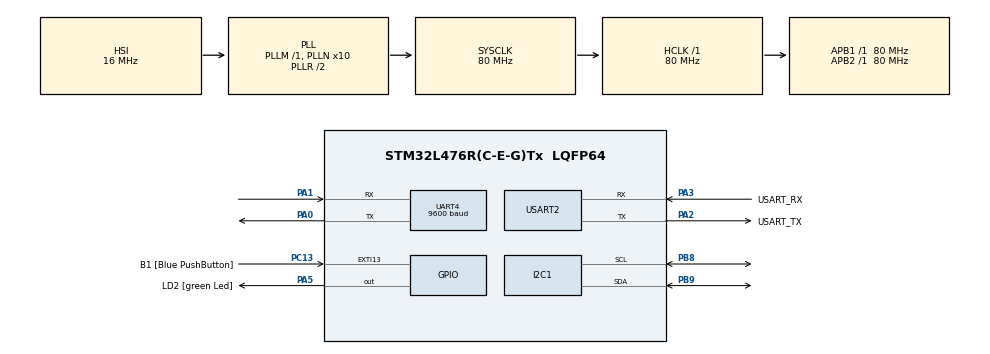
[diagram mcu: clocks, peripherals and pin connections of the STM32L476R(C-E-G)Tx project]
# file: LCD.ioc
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I2C1.Timing=0x10D19CE4
Mcu.Family=STM32L4
Mcu.Name=STM32L476R(C-E-G)Tx
Mcu.Package=LQFP64
NVIC.PriorityGroup=NVIC_PRIORITYGROUP_4
NVIC.UART4_IRQn=true\:0\:0\:false\:false\:true\:true\:true\:true
PA0.Mode=Asynchronous
PA0.Signal=UART4_TX
PA1.Mode=Asynchronous
PA1.Signal=UART4_RX
PA13\ (JTMS-SWDIO).GPIO_Label=TMS
PA13\ (JTMS-SWDIO).Mode=Serial_Wire
PA13\ (JTMS-SWDIO).Signal=SYS_JTMS-SWDIO
PA14\ (JTCK-SWCLK).GPIO_Label=TCK
PA14\ (JTCK-SWCLK).Mode=Serial_Wire
PA14\ (JTCK-SWCLK).Signal=SYS_JTCK-SWCLK
PA2.GPIO_Label=USART_TX
PA2.GPIO_Mode=GPIO_MODE_AF_PP
PA2.GPIO_PuPd=GPIO_NOPULL
PA2.GPIO_Speed=GPIO_SPEED_FREQ_VERY_HIGH
PA2.Mode=Asynchronous
PA2.Signal=USART2_TX
PA3.GPIO_Label=USART_RX
PA3.GPIO_Mode=GPIO_MODE_AF_PP
PA3.GPIO_PuPd=GPIO_NOPULL
PA3.GPIO_Speed=GPIO_SPEED_FREQ_VERY_HIGH
PA3.Mode=Asynchronous
PA3.Signal=USART2_RX
PA5.GPIO_Label=LD2 [green Led]
PA5.GPIO_ModeDefaultOutputPP=GPIO_MODE_OUTPUT_PP
PA5.GPIO_PuPd=GPIO_NOPULL
PA5.GPIO_Speed=GPIO_SPEED_FREQ_LOW
PA5.Signal=GPIO_Output
PB3\ (JTDO-TRACESWO).GPIO_Label=SWO
PB3\ (JTDO-TRACESWO).Signal=SYS_JTDO-SWO
PB8.Mode=I2C
PB8.Signal=I2C1_SCL
PB9.Mode=I2C
PB9.Signal=I2C1_SDA
PC13.GPIO_Label=B1 [Blue PushButton]
PC13.GPIO_ModeDefaultEXTI=GPIO_MODE_IT_FALLING
PC13.GPIO_PuPd=GPIO_NOPULL
PC13.Signal=GPXTI13
PC14-OSC32_IN\ (PC14).Mode=LSE-External-Oscillator
PC14-OSC32_IN\ (PC14).Signal=RCC_OSC32_IN
PC15-OSC32_OUT\ (PC15).Mode=LSE-External-Oscillator
PC15-OSC32_OUT\ (PC15).Signal=RCC_OSC32_OUT
PH0-OSC_IN\ (PH0).Signal=RCC_OSC_IN
PH1-OSC_OUT\ (PH1).Signal=RCC_OSC_OUT
ProjectManager.HeapSize=0x200
ProjectManager.StackSize=0x400
ProjectManager.TargetToolchain=STM32CubeIDE
RCC.ADCFreq_Value=64000000
RCC.AHBFreq_Value=80000000
RCC.APB1Freq_Value=80000000
RCC.APB1TimFreq_Value=80000000
RCC.APB2Freq_Value=80000000
RCC.APB2TimFreq_Value=80000000
RCC.CortexFreq_Value=80000000
RCC.HCLKFreq_Value=80000000
RCC.HSE_VALUE=8000000
RCC.HSI_VALUE=16000000
RCC.MSI_VALUE=4000000
RCC.PLLN=10
RCC.PLLSourceVirtual=RCC_PLLSOURCE_HSI
RCC.PREFETCH_ENABLE=1
RCC.SYSCLKFreq_VALUE=80000000
RCC.SYSCLKSource=RCC_SYSCLKSOURCE_PLLCLK
RCC.USBFreq_Value=64000000
RCC.VCOOutputFreq_Value=160000000
UART4.BaudRate=9600
UART4.WordLength=WORDLENGTH_8B
USART2.VirtualMode-Asynchronous=VM_ASYNC
board=NUCLEO-L476RG

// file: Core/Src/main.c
/* USER CODE BEGIN Header */
/**
  ******************************************************************************
  * @file           : main.c
  * @brief          : Main program body
  ******************************************************************************
  * @attention
  *
  * Copyright (c) 2026 STMicroelectronics.
  * All rights reserved.
  *
  * This software is licensed under terms that can be found in the LICENSE file
  * in the root directory of this software component.
  * If no LICENSE file comes with this software, it is provided AS-IS.
  *
  ******************************************************************************
  */
/* USER CODE END Header */
#include "main.h"
#include "i2c.h"
#include "usart.h"
#include "gpio.h"

/* USER CODE BEGIN Includes */
#include "lcd.h"
#include "lora.h"
#include <stdlib.h>
#include <string.h>
/* USER CODE END Includes */

/* USER CODE BEGIN PV */
rgb_lcd lcd;
uint8_t rx_char;
char rx_buffer[200];
uint16_t rx_index = 0;

/* USER CODE END PV */

void SystemClock_Config(void);

/* USER CODE BEGIN 0 */
void HAL_UART_RxCpltCallback(UART_HandleTypeDef *huart)
{
    if (huart->Instance == UART4)
    {
        lora_uart_callback();
    }
}
/* USER CODE END 0 */

int main(void)
{

  /* MCU Configuration--------------------------------------------------------*/

  /* Reset of all peripherals, Initializes the Flash interface and the Systick. */
  HAL_Init();

  /* Configure the system clock */
  SystemClock_Config();

  /* Initialize all configured peripherals */
  MX_GPIO_Init();
  MX_USART2_UART_Init();
  MX_I2C1_Init();
  MX_UART4_Init();
  /* USER CODE BEGIN 2 */

  /*
  lora_init(LORA_MODE_RECEPTEUR);
	*/

  // Init LCD
  lcd_init(&hi2c1, &lcd);
  reglagecouleur(0, 0, 255); // bleu pour distinguer le récepteur

  lcd_position(&hi2c1, 0, 0);
  lcd_print(&hi2c1, "Init LoRa...");

  // Init LoRa en mode récepteur
  lora_init(LORA_MODE_RECEPTEUR);

  // LCD prêt
  clearlcd();
  lcd_position(&hi2c1, 0, 0);
  lcd_print(&hi2c1, "En attente...");
  /* USER CODE END 2 */

  /* Infinite loop */
  while (1)
  {
	  /*lora_envoie("Hello");
	  HAL_Delay(5000);
	  lora_envoie("Ciao");
	  HAL_Delay(2000);*/
  }
}

void SystemClock_Config(void)
{
  RCC_OscInitTypeDef RCC_OscInitStruct = {0};
  RCC_ClkInitTypeDef RCC_ClkInitStruct = {0};

  /** Configure the main internal regulator output voltage
  */
  if (HAL_PWREx_ControlVoltageScaling(PWR_REGULATOR_VOLTAGE_SCALE1) != HAL_OK)
  {
    Error_Handler();
  }

  /** Initializes the RCC Oscillators according to the specified parameters
  * in the RCC_OscInitTypeDef structure.
  */
  RCC_OscInitStruct.OscillatorType = RCC_OSCILLATORTYPE_HSI;
  RCC_OscInitStruct.HSIState = RCC_HSI_ON;
  RCC_OscInitStruct.HSICalibrationValue = RCC_HSICALIBRATION_DEFAULT;
  RCC_OscInitStruct.PLL.PLLState = RCC_PLL_ON;
  RCC_OscInitStruct.PLL.PLLSource = RCC_PLLSOURCE_HSI;
  RCC_OscInitStruct.PLL.PLLM = 1;
  RCC_OscInitStruct.PLL.PLLN = 10;
  RCC_OscInitStruct.PLL.PLLP = RCC_PLLP_DIV7;
  RCC_OscInitStruct.PLL.PLLQ = RCC_PLLQ_DIV2;
  RCC_OscInitStruct.PLL.PLLR = RCC_PLLR_DIV2;
  if (HAL_RCC_OscConfig(&RCC_OscInitStruct) != HAL_OK)
  {
    Error_Handler();
  }

  /** Initializes the CPU, AHB and APB buses clocks
  */
  RCC_ClkInitStruct.ClockType = RCC_CLOCKTYPE_HCLK|RCC_CLOCKTYPE_SYSCLK
                              |RCC_CLOCKTYPE_PCLK1|RCC_CLOCKTYPE_PCLK2;
  RCC_ClkInitStruct.SYSCLKSource = RCC_SYSCLKSOURCE_PLLCLK;
  RCC_ClkInitStruct.AHBCLKDivider = RCC_SYSCLK_DIV1;
  RCC_ClkInitStruct.APB1CLKDivider = RCC_HCLK_DIV1;
  RCC_ClkInitStruct.APB2CLKDivider = RCC_HCLK_DIV1;

  if (HAL_RCC_ClockConfig(&RCC_ClkInitStruct, FLASH_LATENCY_4) != HAL_OK)
  {
    Error_Handler();
  }
}

void Error_Handler(void)
{
  __disable_irq();
  while (1)
  {
  }
}
